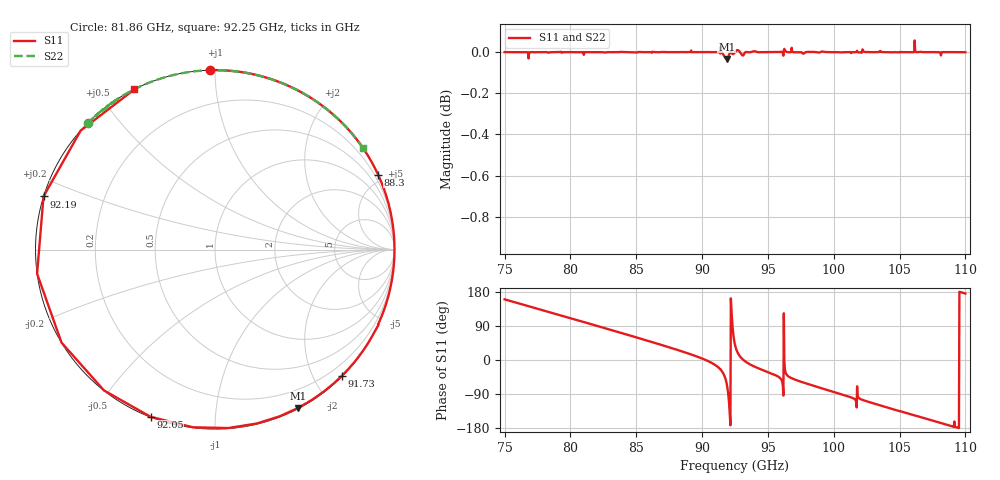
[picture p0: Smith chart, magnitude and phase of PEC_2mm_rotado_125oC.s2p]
! TOUCHSTONE file generated by CST MICROWAVE STUDIO
! Date and time: Wed Feb 14 15:11:42 2024
! Project name: metal_rotado.cst
! Parameters = {angY=1.25}
! Header version: 2018
! Port assignment regex: !\s*Touchstone port\s*([0-9]+)\s*=\s*(CST MWS port|CST DS port)\s*([0-9]+|Zmin|Zmax)\s*\(\"(.*)\"\)(\s*mode\s*([0-9]+))?.*
! Touchstone port assignment:
! Touchstone port 1 = CST MWS port 1 ("")
! Touchstone port 2 = CST MWS port 2 ("")
# GHz S MA R 376.7
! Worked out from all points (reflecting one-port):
!   1001 points, 75 GHz to 110 GHz, reference 376.7 ohm
!   lowest |S11| = 0.0 dB at 91.87 GHz (marker M1), VSWR 522.56, Z = 2.69 - j622 ohm
!   phase of S11 starts at 160 deg and turns -1065 deg over the sweep
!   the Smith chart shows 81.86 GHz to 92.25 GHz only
!   S11 on the Smith chart (normalised r, x): 81.86 GHz: -0.00, +0.97; 88.3 GHz: -0.00, +4.57; 91.73 GHz: 0.01, -2.42; 92.05 GHz: 0.00, -0.69; 92.19 GHz: -0.00, +0.15; 92.25 GHz: 0.00, +0.62
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75  1 160.1  0 0.0  0 0.0  1 -160.3
80.845  1 101.8  4.091e-65 -179.8  4.091e-65 -179.8  1 144.8
81.86  1 91.7  3.794e-65 -179.8  3.794e-65 -179.8  1 135.2
86.69  0.9999 42.1  2.404e-65 -179.8  2.404e-65 -179.8  0.9993 89.5
88.3  1 24.7  1.905e-65 -179.8  1.905e-65 -179.8  1 73.9
91.73  0.9972 -44.8  7.022e-66 180.0  7.022e-66 180.0  1 40.1
91.87  0.9962 -62.4  6.016e-66 180.0  6.016e-66 180.0  1 38.6
92.045  0.9983 -111.1  6.006e-66 180.0  6.006e-66 180.0  1 36.8
92.185  1 162.8  4.998e-66 -179.9  4.998e-66 -179.9  1 35.4
92.255  0.9995 116.7  5.004e-66 -179.8  5.004e-66 -179.8  1 34.7
92.5  1 40.1  0 0.0  0 0.0  1 32.1
93.795  1 -14.4  0 0.0  0 0.0  1 18.0
96.315  1.001 -29.5  1.004e-65 -0.1  1.004e-65 -0.1  1 -24.7
96.91  1 -49.8  1.302e-65 -0.2  1.302e-65 -0.2  0.9998 -78.7
97.155  0.9999 -53.0  1.399e-65 -0.1  1.399e-65 -0.1  0.9992 177.8
97.4  1 -56.0  1.503e-65 0.0  1.503e-65 0.0  0.9999 67.6
97.68  0.9991 -59.3  1.605e-65 -0.0  1.605e-65 -0.0  0.9999 27.9
98.345  1 -66.7  1.805e-65 -0.1  1.805e-65 -0.1  1 -0.8
100.97  1 -94.6  2.503e-65 -0.2  2.503e-65 -0.2  0.9999 -51.1
101.355  0.9999 -99.2  2.704e-65 -0.2  2.704e-65 -0.2  1 -24.0
104.19  1 -126.5  3.498e-65 -0.2  3.498e-65 -0.2  1 -69.4
110  0.9999 175.4  0 0.0  0 0.0  1 -125.5
